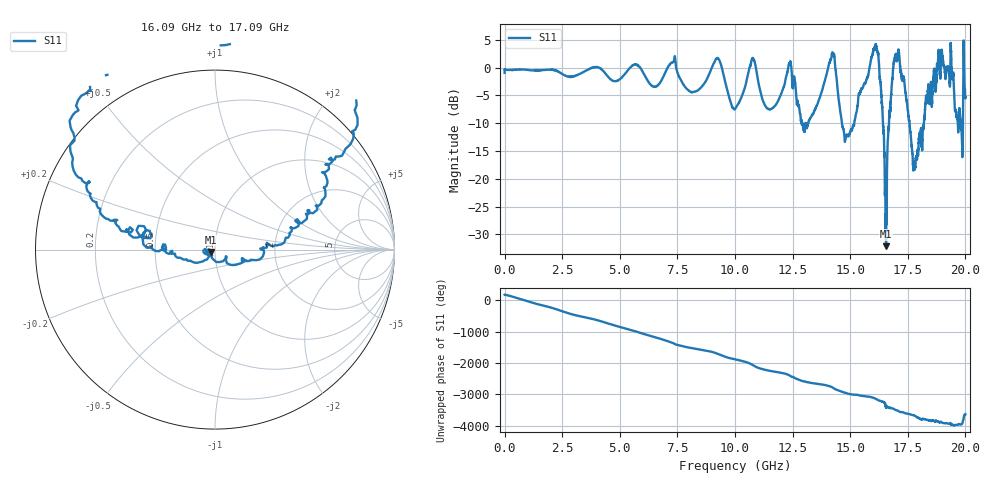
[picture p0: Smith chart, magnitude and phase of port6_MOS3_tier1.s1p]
! Created with skrf 1.8.0 (http://scikit-rf.org).
# GHz S RI R 50.0
!freq ReS11 ImS11
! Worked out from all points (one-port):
!   10001 points, 1 MHz to 20 GHz, reference 50 ohm
!   lowest |S11| = -32.1 dB at 16.56 GHz (marker M1), VSWR 1.05, Z = 47.9 - j1.26 ohm
!   |S11| at or under -10 dB: 14.64 GHz to 15.18 GHz (536.9 MHz wide, 3.6 % of centre); 16.42 GHz to 16.68 GHz (263.4 MHz wide, 1.59 % of centre); 17.58 GHz to 18.2 GHz (622.3 MHz wide, 3.48 % of centre) (the widest 3 of 9)
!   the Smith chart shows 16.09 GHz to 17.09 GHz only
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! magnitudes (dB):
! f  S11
! 1 MHz  -0.9
! 2.501 GHz  -1.1
! 5.001 GHz  -2.1
! 7.501 GHz  -0.9
! 8.221 GHz  -4.4
! 9.261 GHz  1.7
! 10 GHz  -7.5
! 10.77 GHz  1.8
! 11.46 GHz  -7.5
! 12.34 GHz  0.6
! 12.5 GHz  -3.4
! 13.05 GHz  -10.0
! 14.24 GHz  2.6
! 14.71 GHz  -11.0
! 15 GHz  -11.6
! 16.12 GHz  4.0
! 16.31 GHz  -2.6
! 16.49 GHz  -16.4
! 16.56 GHz  -32.1
! 16.79 GHz  -4.4
! 16.98 GHz  2.5
! 17.5 GHz  -7.6
! 17.81 GHz  -17.8
! 18.33 GHz  -5.8
! 18.91 GHz  -1.4
! 19.42 GHz  -1.4
! 19.79 GHz  -9.3
! 20 GHz  -5.3
